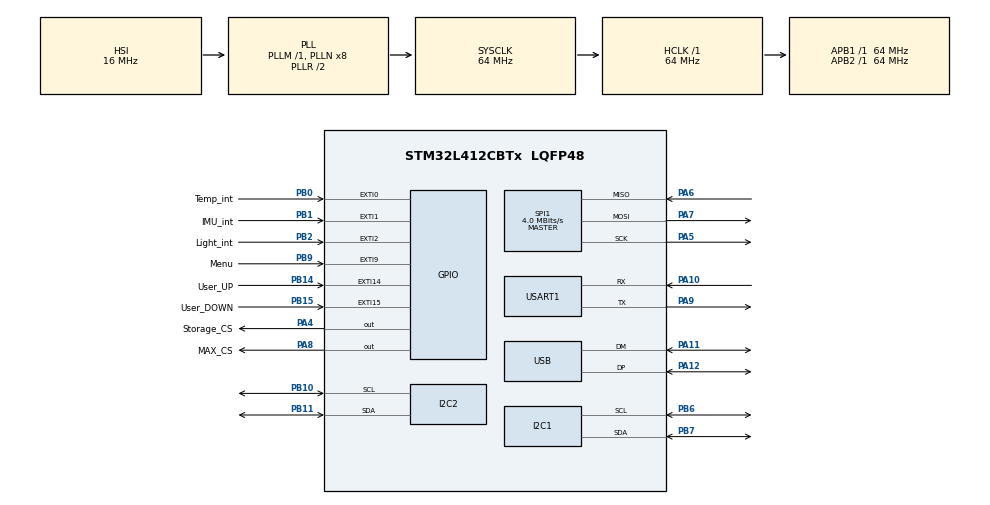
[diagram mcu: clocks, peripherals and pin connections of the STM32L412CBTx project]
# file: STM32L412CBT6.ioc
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FATFS._USE_LFN=2
I2C1.Timing=0x10B17DB5
I2C2.Timing=0x10B17DB5
Mcu.Family=STM32L4
Mcu.Name=STM32L412CBTx
Mcu.Package=LQFP48
NVIC.PriorityGroup=NVIC_PRIORITYGROUP_4
NVIC.USB_IRQn=true\:0\:0\:false\:false\:true\:false\:true\:true
PA10.Mode=Asynchronous
PA10.Signal=USART1_RX
PA11.Mode=Device
PA11.Signal=USB_DM
PA12.Mode=Device
PA12.Signal=USB_DP
PA13\ (JTMS/SWDIO).Mode=Serial_Wire
PA13\ (JTMS/SWDIO).Signal=SYS_JTMS-SWDIO
PA14\ (JTCK/SWCLK).Mode=Serial_Wire
PA14\ (JTCK/SWCLK).Signal=SYS_JTCK-SWCLK
PA4.GPIO_Label=Storage_CS
PA4.GPIO_Speed=GPIO_SPEED_FREQ_HIGH
PA4.PinState=GPIO_PIN_SET
PA4.Signal=GPIO_Output
PA5.Mode=Full_Duplex_Master
PA5.Signal=SPI1_SCK
PA6.Mode=Full_Duplex_Master
PA6.Signal=SPI1_MISO
PA7.Mode=Full_Duplex_Master
PA7.Signal=SPI1_MOSI
PA8.GPIO_Label=MAX_CS
PA8.GPIO_Speed=GPIO_SPEED_FREQ_HIGH
PA8.PinState=GPIO_PIN_SET
PA8.Signal=GPIO_Output
PA9.Mode=Asynchronous
PA9.Signal=USART1_TX
PB0.GPIO_Label=Temp_int
PB0.Signal=GPXTI0
PB1.GPIO_Label=IMU_int
PB1.Signal=GPXTI1
PB10.Mode=I2C
PB10.Signal=I2C2_SCL
PB11.Mode=I2C
PB11.Signal=I2C2_SDA
PB14.GPIO_Label=User_UP
PB14.GPIO_ModeDefaultEXTI=GPIO_MODE_IT_FALLING
PB14.GPIO_PuPd=GPIO_PULLUP
PB14.Signal=GPXTI14
PB15.GPIO_Label=User_DOWN
PB15.GPIO_ModeDefaultEXTI=GPIO_MODE_IT_FALLING
PB15.GPIO_PuPd=GPIO_PULLUP
PB15.Signal=GPXTI15
PB2.GPIO_Label=Light_int
PB2.Signal=GPXTI2
PB6.Mode=I2C
PB6.Signal=I2C1_SCL
PB7.Mode=I2C
PB7.Signal=I2C1_SDA
PB9.GPIO_Label=Menu
PB9.GPIO_ModeDefaultEXTI=GPIO_MODE_IT_FALLING
PB9.GPIO_PuPd=GPIO_PULLUP
PB9.Signal=GPXTI9
PC14-OSC32_IN\ (PC14).Mode=LSE-External-Oscillator
PC14-OSC32_IN\ (PC14).Signal=RCC_OSC32_IN
PC15-OSC32_OUT\ (PC15).Mode=LSE-External-Oscillator
PC15-OSC32_OUT\ (PC15).Signal=RCC_OSC32_OUT
ProjectManager.HeapSize=0x200
ProjectManager.StackSize=0x400
ProjectManager.TargetToolchain=CMake
RCC.ADCFreq_Value=64000000
RCC.AHBFreq_Value=64000000
RCC.APB1Freq_Value=64000000
RCC.APB1TimFreq_Value=64000000
RCC.APB2Freq_Value=64000000
RCC.APB2TimFreq_Value=64000000
RCC.CK48CLockSelection=RCC_USBCLKSOURCE_HSI48
RCC.CortexFreq_Value=64000000
RCC.HCLKFreq_Value=64000000
RCC.HSE_VALUE=8000000
RCC.HSI48_VALUE=48000000
RCC.HSI_VALUE=16000000
RCC.MSI_VALUE=4000000
RCC.PLLSourceVirtual=RCC_PLLSOURCE_HSI
RCC.RTCClockSelection=RCC_RTCCLKSOURCE_LSE
RCC.SYSCLKFreq_VALUE=64000000
RCC.SYSCLKSource=RCC_SYSCLKSOURCE_PLLCLK
RCC.USBFreq_Value=48000000
RCC.VCOOutputFreq_Value=128000000
SPI1.BaudRatePrescaler=SPI_BAUDRATEPRESCALER_16
SPI1.CLKPhase=SPI_PHASE_2EDGE
SPI1.CLKPolarity=SPI_POLARITY_HIGH
SPI1.CalculateBaudRate=4.0 MBits/s
SPI1.DataSize=SPI_DATASIZE_8BIT
SPI1.Direction=SPI_DIRECTION_2LINES
SPI1.Mode=SPI_MODE_MASTER
SPI1.VirtualType=VM_MASTER
USART1.VirtualMode-Asynchronous=VM_ASYNC
USB_DEVICE.CLASS_NAME_FS=MSC
USB_DEVICE.USBD_SELF_POWERED=1
USB_DEVICE.VirtualMode=Msc
USB_DEVICE.VirtualModeFS=Msc_FS
VP_FATFS_VS_Generic.Mode=User_defined
VP_RTC_VS_RTC_Activate.Mode=RTC_Enabled
VP_RTC_VS_RTC_Calendar.Mode=RTC_Calendar
VP_USB_DEVICE_VS_USB_DEVICE_MSC_FS.Mode=MSC_FS
board=custom

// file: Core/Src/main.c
/* USER CODE BEGIN Header */
/**
  ******************************************************************************
  * @file           : main.c
  * @brief          : Main program body
  ******************************************************************************
  * @attention
  *
  * Copyright (c) 2026 STMicroelectronics.
  * All rights reserved.
  *
  * This software is licensed under terms that can be found in the LICENSE file
  * in the root directory of this software component.
  * If no LICENSE file comes with this software, it is provided AS-IS.
  *
  ******************************************************************************
  */
/* USER CODE END Header */
#include "main.h"
#include "fatfs.h"
#include "stm32l4xx_hal.h"
#include "usb_device.h"

/* USER CODE BEGIN Includes */
#include "Sensors.h"
#include "ssd1306.h"
#include "ssd1306_fonts.h"
#include <stdio.h>
#include <string.h>
#include "usbd_core.h"
#include "GSM.h"
extern USBD_HandleTypeDef hUsbDeviceFS;
/* USER CODE END Includes */

/* USER CODE BEGIN PTD */
// SPI Command to read the chip's ID
#define W25_CMD_JEDEC_ID 0x9F
// SPI Command to read standard data
#define W25_CMD_READ 0x03
#define W25_CMD_WRITE_ENABLE 0x06
#define W25_CMD_READ_STATUS  0x05
#define W25_CMD_SECTOR_ERASE 0x20
#define W25_CMD_PAGE_PROGRAM 0x02

#define W25_CS_LOW()  HAL_GPIO_WritePin(Storage_CS_GPIO_Port, Storage_CS_Pin, GPIO_PIN_RESET)
#define W25_CS_HIGH() HAL_GPIO_WritePin(Storage_CS_GPIO_Port, Storage_CS_Pin, GPIO_PIN_SET)

#define MAX_BUFFERED_READINGS 100 // Adjust based on your available RAM
typedef struct {
    uint8_t year;
    uint8_t month;
    uint8_t date;
    uint8_t hours;
    uint8_t minutes;
    uint8_t seconds;
    float temperature;
    float humidity;
    int16_t accel_x;
    int16_t accel_y;
    int16_t accel_z;
    uint8_t shock_event; // NEW FIELD
} SensorRecord_t;
/* USER CODE END PTD */

I2C_HandleTypeDef hi2c1;
I2C_HandleTypeDef hi2c2;

RTC_HandleTypeDef hrtc;

SPI_HandleTypeDef hspi1;

UART_HandleTypeDef huart1;

/* USER CODE BEGIN PV */
// Array to store the 3 bytes the chip sends back
uint8_t flash_id[3];
uint8_t test_read_buffer[10]; // Buffer to hold our read test
float check = 0.0f; // Variable to hold the floating-point value to be written to the CSV file
float debug=0.0f;
float f_c= 0.0f;
uint32_t dif_time=0;

FATFS fs;           // The File System Object
FIL fil;            // The File Object
UINT bytesWritten;  // Counter for bytes written

char log_buffer[128];

SensorRecord_t local_record_buffer[MAX_BUFFERED_READINGS];
uint32_t local_record_count = 0; // Tracks how many readings we have stored
volatile uint8_t shock_event_data = 0;

//Display variables
// ==========================================
// UI GLOBAL VARIABLES
// ==========================================
int Logging_interval = 30;// Logging interval in seconds (10-40)
int Uploading_Interval = 120;// Uploading interval in seconds (0-255)
int alarm_enable = 1;

int battery_percent = 73;           // Battery percentage (0-100)
char time_str[16] = "00:00:00";     // String to hold RTC time for OLED

typedef enum {
    UI_STATE_HOME,    // Main dashboard display
    UI_STATE_MENU,    // Scrolling through settings list
    UI_STATE_EDIT     // Tweaking a specific setting
} UI_State_t;

typedef struct {
    const char* label;   // Text to display on OLED
    int* target_var;     // Pointer to the actual global variable
    int min_val;         // Lower limit
    int max_val;         // Upper limit
    int step;            // Amount to change per click
} MenuItem_t;

UI_State_t current_state = UI_STATE_HOME;
int current_menu_index = 0;
uint8_t ui_needs_update = 1;

#define DISPLAY_TIMEOUT_MS 60000U
uint8_t display_enabled = 1;
uint32_t last_user_activity_ms = 0;
uint32_t last_sensor_read_ms = 0; // Timer for our non-blocking 500ms loop
uint32_t last_upload_ms = 0;

MenuItem_t menu_items[] = {
    // Label                 Pointer               Min   Max    Step
    {"Logging Interval",    &Logging_interval,     10,   180,   10},  // Range: 10s to 120s (Step by 10s)
    {"Uploading Interval",  &Uploading_Interval,   60,   3600,  60},  // Range: 60s to 3600s (Step by 1 minute)
    {"Alarm Switch",        &alarm_enable,         0,    1,     1}
};
const int TOTAL_MENU_ITEMS = sizeof(menu_items) / sizeof(MenuItem_t);
/* USER CODE END PV */

void SystemClock_Config(void);
static void MX_GPIO_Init(void);
static void MX_I2C1_Init(void);
static void MX_I2C2_Init(void);
static void MX_RTC_Init(void);
static void MX_SPI1_Init(void);
static void MX_USART1_UART_Init(void);
/* USER CODE BEGIN PFP */
void SPI_Set_Mode_Flash(void);
void SPI_Set_Mode_MAX31865(void);
void W25_Read_ID(void);
void W25_Read_Data(uint32_t address, uint8_t* buffer, uint32_t length);
void W25_Wait_For_Ready(void);
void W25_Write_Enable(void);
void W25_Erase_Sector(uint32_t address);
void W25_Write_Page(uint32_t address, uint8_t* buffer, uint16_t length);
void Update_Dashboard(void);
uint8_t Process_UI(void);
void Display_HomeScreen(void);
void Display_MenuScreen(void);
void Display_EditScreen(void);
/* USER CODE END PFP */

/* USER CODE BEGIN 0 */
// Shifts the SPI bus into Mode 0 for the Memory Chip
void SPI_Set_Mode_Flash(void)
{
// 1. Force the PT100 CS HIGH so it ignores the bus change
  HAL_GPIO_WritePin(MAX_CS_GPIO_Port, MAX_CS_Pin, GPIO_PIN_SET);

  // 2. Safely disable the SPI hardware block without breaking GPIOs
  __HAL_SPI_DISABLE(&hspi1);

  // 3. Fully restore ALL SPI parameters for Mode 0
  hspi1.Init.Mode = SPI_MODE_MASTER;
  hspi1.Init.Direction = SPI_DIRECTION_2LINES;
  hspi1.Init.DataSize = SPI_DATASIZE_8BIT;
  hspi1.Init.CLKPolarity = SPI_POLARITY_LOW;         // Mode 0
  hspi1.Init.CLKPhase = SPI_PHASE_1EDGE;             // Mode 0
  hspi1.Init.NSS = SPI_NSS_SOFT;
  hspi1.Init.BaudRatePrescaler = SPI_BAUDRATEPRESCALER_16; // Overwrite FatFs changes
  hspi1.Init.FirstBit = SPI_FIRSTBIT_MSB;
  hspi1.Init.TIMode = SPI_TIMODE_DISABLE;
  hspi1.Init.CRCCalculation = SPI_CRCCALCULATION_DISABLE;
  hspi1.Init.CRCPolynomial = 7;
  hspi1.Init.CRCLength = SPI_CRC_LENGTH_DATASIZE;
  hspi1.Init.NSSPMode = SPI_NSS_PULSE_DISABLE;

  HAL_SPI_Init(&hspi1);
}

// Shifts the SPI bus into Mode 3 for the PT100 Sensor
void SPI_Set_Mode_MAX31865(void)
{
// 1. Force the Flash CS HIGH so it ignores the bus change
  HAL_GPIO_WritePin(Storage_CS_GPIO_Port, Storage_CS_Pin, GPIO_PIN_SET);

  // 2. Safely disable the SPI hardware block without breaking GPIOs
  __HAL_SPI_DISABLE(&hspi1);

  // 3. Fully restore ALL SPI parameters for Mode 3
  hspi1.Init.Mode = SPI_MODE_MASTER;
  hspi1.Init.Direction = SPI_DIRECTION_2LINES;
  hspi1.Init.DataSize = SPI_DATASIZE_8BIT;
  hspi1.Init.CLKPolarity = SPI_POLARITY_HIGH;        // Mode 3
  hspi1.Init.CLKPhase = SPI_PHASE_2EDGE;             // Mode 3
  hspi1.Init.NSS = SPI_NSS_SOFT;
  hspi1.Init.BaudRatePrescaler = SPI_BAUDRATEPRESCALER_16; // Guarantee safe clock speed!
  hspi1.Init.FirstBit = SPI_FIRSTBIT_MSB;
  hspi1.Init.TIMode = SPI_TIMODE_DISABLE;
  hspi1.Init.CRCCalculation = SPI_CRCCALCULATION_DISABLE;
  hspi1.Init.CRCPolynomial = 7;
  hspi1.Init.CRCLength = SPI_CRC_LENGTH_DATASIZE;
  hspi1.Init.NSSPMode = SPI_NSS_PULSE_DISABLE;

  HAL_SPI_Init(&hspi1);
}
void W25_Read_ID(void)
{
  SPI_Set_Mode_Flash(); // Ensure SPI is in Mode 0 for the flash chip

  uint8_t cmd = W25_CMD_JEDEC_ID;

  // 1. Pull CS Low to wake up the memory chip
  W25_CS_LOW();

  // 2. Transmit the 0x9F command over MOSI
  HAL_SPI_Transmit(&hspi1, &cmd, 1, 100);

  // 3. Receive the 3-byte response over MISO
  HAL_SPI_Receive(&hspi1, flash_id, 3, 100);

  // 4. Pull CS High to put the chip back to sleep
  W25_CS_HIGH();
}

void W25_Read_Data(uint32_t address, uint8_t* buffer, uint32_t length)
{
    SPI_Set_Mode_Flash(); // Ensure SPI is in Mode 0 for the flash chip
    uint8_t spi_data[4];

    // 1. Setup the command and 24-bit address (MSB first)
    spi_data[0] = W25_CMD_READ;                 // Instruction
    spi_data[1] = (address >> 16) & 0xFF;       // Address High Byte
    spi_data[2] = (address >> 8)  & 0xFF;       // Address Middle Byte
    spi_data[3] = (address & 0xFF);             // Address Low Byte

    // 2. Pull CS Low to select the chip
    W25_CS_LOW();

    // 3. Send the Command and Address (4 bytes total)
    HAL_SPI_Transmit(&hspi1, spi_data, 4, 100);

    // 4. Read the requested data directly into the buffer
    HAL_SPI_Receive(&hspi1, buffer, length, 1000);

    // 5. Pull CS High to put the chip back to sleep
    W25_CS_HIGH();
}

// Checks the BUSY bit in the status register and waits until it clears
void W25_Wait_For_Ready(void)
{
    SPI_Set_Mode_Flash(); // Ensure SPI is in Mode 0 for the flash chip
    uint8_t cmd = W25_CMD_READ_STATUS;
    uint8_t status = 0;

    W25_CS_LOW();
    HAL_SPI_Transmit(&hspi1, &cmd, 1, 100);
    do {
        // Keep reading the status register until bit 0 (BUSY) becomes 0
        HAL_SPI_Receive(&hspi1, &status, 1, 100);
    } while ((status & 0x01) == 0x01);
    W25_CS_HIGH();
}

// Unlocks the memory to allow a write or erase
void W25_Write_Enable(void)
{
    SPI_Set_Mode_Flash(); // Ensure SPI is in Mode 0 for the flash chip
    uint8_t cmd = W25_CMD_WRITE_ENABLE;
    W25_CS_LOW();
    HAL_SPI_Transmit(&hspi1, &cmd, 1, 100);
    W25_CS_HIGH();
}

// Wipes a 4096-byte chunk of memory clean to 0xFF
void W25_Erase_Sector(uint32_t address)
{
    SPI_Set_Mode_Flash(); // Ensure SPI is in Mode 0 for the flash chip
    uint8_t spi_data[4];

    W25_Write_Enable(); // MUST unlock before erasing

    spi_data[0] = W25_CMD_SECTOR_ERASE;
    spi_data[1] = (address >> 16) & 0xFF;
    spi_data[2] = (address >> 8)  & 0xFF;
    spi_data[3] = (address & 0xFF);

    W25_CS_LOW();
    HAL_SPI_Transmit(&hspi1, spi_data, 4, 100);
    W25_CS_HIGH();

    W25_Wait_For_Ready(); // Wait for the physical erase to finish
}

// Writes up to 256 bytes of data to an ERASED sector
void W25_Write_Page(uint32_t address, uint8_t* buffer, uint16_t length)
{
    SPI_Set_Mode_Flash(); // Ensure SPI is in Mode 0 for the flash chip
    uint8_t spi_data[4];

    W25_Write_Enable(); // MUST unlock before writing

    spi_data[0] = W25_CMD_PAGE_PROGRAM;
    spi_data[1] = (address >> 16) & 0xFF;
    spi_data[2] = (address >> 8)  & 0xFF;
    spi_data[3] = (address & 0xFF);

    W25_CS_LOW();
    HAL_SPI_Transmit(&hspi1, spi_data, 4, 100);       // Send Address
    HAL_SPI_Transmit(&hspi1, buffer, length, 1000);   // Send Data Array
    W25_CS_HIGH();

    W25_Wait_For_Ready(); // Wait for the physical write to finish
}

uint8_t Process_UI(void) {
    static uint8_t menu_was_pressed = 0;
    static uint8_t up_was_pressed = 0;
    static uint8_t down_was_pressed = 0;
    uint8_t changed = 0;

    uint8_t menu_pressed = (HAL_GPIO_ReadPin(Menu_GPIO_Port, Menu_Pin) == GPIO_PIN_RESET);
    uint8_t up_pressed   = (HAL_GPIO_ReadPin(User_DOWN_GPIO_Port, User_DOWN_Pin) == GPIO_PIN_RESET);
    uint8_t down_pressed = (HAL_GPIO_ReadPin(User_UP_GPIO_Port, User_UP_Pin) == GPIO_PIN_RESET);

    // MENU BUTTON LOGIC
    if (menu_pressed && !menu_was_pressed) {
        menu_was_pressed = 1;
        changed = 1;
        if (current_state == UI_STATE_HOME) {
            current_state = UI_STATE_MENU;
            current_menu_index = 0;
        } else if (current_state == UI_STATE_MENU) {
            current_state = UI_STATE_EDIT;
        } else if (current_state == UI_STATE_EDIT) {
            current_state = UI_STATE_MENU;
        }
    } else if (!menu_pressed) menu_was_pressed = 0;

    // UP BUTTON LOGIC
    if (up_pressed && !up_was_pressed) {
        up_was_pressed = 1;
        changed = 1;
        if (current_state == UI_STATE_MENU) {
            current_menu_index--;
            if (current_menu_index < 0) current_menu_index = TOTAL_MENU_ITEMS - 1;
        } else if (current_state == UI_STATE_EDIT) {
            MenuItem_t* active_item = &menu_items[current_menu_index];
            *(active_item->target_var) += active_item->step;
            if (*(active_item->target_var) > active_item->max_val) *(active_item->target_var) = active_item->max_val;
        } else if (current_state == UI_STATE_HOME) {
            current_state = UI_STATE_MENU;
            current_menu_index = 0;
        }
    } else if (!up_pressed) up_was_pressed = 0;

    // DOWN BUTTON LOGIC
    if (down_pressed && !down_was_pressed) {
        down_was_pressed = 1;
        changed = 1;
        if (current_state == UI_STATE_MENU) {
            current_menu_index++;
            if (current_menu_index >= TOTAL_MENU_ITEMS) {
                current_state = UI_STATE_HOME;
                current_menu_index = 0;
            }
        } else if (current_state == UI_STATE_EDIT) {
            MenuItem_t* active_item = &menu_items[current_menu_index];
            *(active_item->target_var) -= active_item->step;
            if (*(active_item->target_var) < active_item->min_val) *(active_item->target_var) = active_item->min_val;
        } else if (current_state == UI_STATE_HOME) {
            current_state = UI_STATE_MENU;
            current_menu_index = 0;
        }
    } else if (!down_pressed) down_was_pressed = 0;

    return changed;
}

void Display_HomeScreen(void)
{
  char buf[32];
  ssd1306_Fill(Black);

  ssd1306_SetCursor(2, 0);
  ssd1306_WriteString((char*)"Temp", Font_6x8, White);

  // UPDATED TO USE YOUR PT100 VARIABLE
  snprintf(buf, sizeof(buf), "%.1fC", live_temperature);
  ssd1306_SetCursor(2, 10);
  ssd1306_WriteString(buf, Font_16x24, White);

  // UPDATED TO USE YOUR SHT45 VARIABLE
  snprintf(buf, sizeof(buf), "Hum: %.0f%%", humidity);
  ssd1306_SetCursor(64, 10);
  ssd1306_WriteString(buf, Font_7x10, White);

  snprintf(buf, sizeof(buf), "Bat: %d%%", battery_percent);
  ssd1306_SetCursor(64, 36);
  ssd1306_WriteString(buf, Font_7x10, White);

  ssd1306_SetCursor(2, 50);
  ssd1306_WriteString(time_str, Font_7x10, White);

  ssd1306_UpdateScreen();
}

void Display_MenuScreen(void)
{
  char buf[32];
  ssd1306_Fill(Black);
  ssd1306_SetCursor(2, 0);
  ssd1306_WriteString((char*)"SETTINGS", Font_7x10, White);
  ssd1306_Line(0, 12, 127, 12, White);

  int y_pos = 18;
  for (int i = 0; i < TOTAL_MENU_ITEMS; i++) {
    if (i == current_menu_index) {
      ssd1306_DrawRectangle(0, y_pos - 2, 127, y_pos + 10, White);
      ssd1306_SetCursor(4, y_pos);
      snprintf(buf, sizeof(buf), "%s: %d", menu_items[i].label, *(menu_items[i].target_var));
      ssd1306_WriteString(buf, Font_6x8, Black);
    } else {
      ssd1306_SetCursor(4, y_pos);
      snprintf(buf, sizeof(buf), "%s: %d", menu_items[i].label, *(menu_items[i].target_var));
      ssd1306_WriteString(buf, Font_6x8, White);
    }
    y_pos += 14;
  }
  ssd1306_SetCursor(2, 54);
  ssd1306_WriteString((char*)"Menu:Select  Dn:Back", Font_6x8, White);
  ssd1306_UpdateScreen();
}

void Display_EditScreen(void)
{
  char buf[32];
  ssd1306_Fill(Black);
  MenuItem_t* active_item = &menu_items[current_menu_index];

  ssd1306_SetCursor(2, 0);
  ssd1306_WriteString((char*)"EDIT MODE", Font_7x10, White);
  ssd1306_Line(0, 12, 127, 12, White);

  ssd1306_SetCursor(2, 18);
  ssd1306_WriteString((char*)active_item->label, Font_11x18, White);

  snprintf(buf, sizeof(buf), "%d", *(active_item->target_var));
  ssd1306_SetCursor(2, 40);
  ssd1306_WriteString(buf, Font_16x24, White);

  snprintf(buf, sizeof(buf), "Range: %d-%d  Menu:Back", active_item->min_val, active_item->max_val);
  ssd1306_SetCursor(2, 54);
  ssd1306_WriteString(buf, Font_6x8, White);
  ssd1306_UpdateScreen();
}
/* USER CODE END 0 */

int main(void)
{

  /* MCU Configuration--------------------------------------------------------*/

  /* Reset of all peripherals, Initializes the Flash interface and the Systick. */
  HAL_Init();

  /* Configure the system clock */
  SystemClock_Config();

  /* Initialize all configured peripherals */
  MX_GPIO_Init();
  MX_I2C1_Init();
  MX_I2C2_Init();
  MX_RTC_Init();
  MX_SPI1_Init();
  MX_FATFS_Init();
  MX_USB_DEVICE_Init();
  MX_USART1_UART_Init();
  /* USER CODE BEGIN 2 */
  HAL_Delay(100);

  // Replace &huart1 with your configured cellular UART handle
  GSM_Init(&huart1);

  // Ask the chip who it is!
  W25_Read_ID();

  ssd1306_Init();
  // Show a quick boot screen
  ssd1306_Fill(Black);
  ssd1306_SetCursor(10, 20);
  ssd1306_WriteString("Cold Chain", Font_11x18, White);
  ssd1306_SetCursor(25, 40);
  ssd1306_WriteString("Logger V1", Font_7x10, White);
  ssd1306_UpdateScreen();

  HAL_Delay(2000); // Show the boot screen for 2 seconds
  ssd1306_Fill(Black);

  //USBD_DeInit(&hUsbDeviceFS);

  MAX31865_Init(); // Initialize the MAX31865 for PT100 readings

  LIS3DHTR_Init(); // Initialize the LIS3DHTR for accelerometer readings

  /* USER CODE END 2 */

  /* Infinite loop */
  /* USER CODE BEGIN WHILE */
  uint8_t was_usb_connected = 0;
  while (1)
  {
    uint32_t current_time_ms = HAL_GetTick();
      uint8_t is_usb_connected = (hUsbDeviceFS.dev_state == USBD_STATE_CONFIGURED) ? 1 : 0;

      // =========================================================
      // TRANSITION LOGIC (Cable plugged in)
      // =========================================================
      if (is_usb_connected == 1 && was_usb_connected == 0)
      {
          // 1. Alert the User
          ssd1306_Fill(Black);
          ssd1306_SetCursor(10, 20);
          ssd1306_WriteString("USB CONNECTED", Font_11x18, White);
          ssd1306_SetCursor(10, 40);
          ssd1306_WriteString("Syncing Data...", Font_7x10, White);
          ssd1306_UpdateScreen();
          // Not working --> competition between windows and stm32 to write and read the flash memory.
          // 2. Quickly mount FatFs and dump our RAM buffer into the CSV file
          /*if (f_mount(&fs, USERPath, 1) == FR_OK)
          {
              if (f_open(&fil, "maindata.csv", FA_OPEN_ALWAYS | FA_WRITE) == FR_OK)
              {
                  // ==========================================
                  // NEW: Check if the file is brand new (size 0)
                  // ==========================================
                  if (f_size(&fil) == 0)
                  {
                      // File was just created, write the header!
                      f_c=0.2f;
                      char header[] = "Date,Time,Temperature(C),Humidity(%),Accel_X,Accel_Y,Accel_Z\n";
                      f_write(&fil, header, strlen(header), &bytesWritten);
                  }
                  else
                  {
                      // File already exists, just jump to the end
                      f_c=0.1f;
                      f_lseek(&fil, f_size(&fil));
                  }

                  // Loop through all saved readings and write them
                  for (uint32_t i = 0; i < local_record_count; i++)
                  {
                      snprintf(log_buffer, sizeof(log_buffer), "20%02d-%02d-%02d,%02d:%02d:%02d,%.2f,%.2f,%d,%d,%d\n",
                               local_record_buffer[i].year, local_record_buffer[i].month, local_record_buffer[i].date,
                               local_record_buffer[i].hours, local_record_buffer[i].minutes, local_record_buffer[i].seconds,
                               local_record_buffer[i].temperature, local_record_buffer[i].humidity,
                               local_record_buffer[i].accel_x, local_record_buffer[i].accel_y, local_record_buffer[i].accel_z);

                      f_write(&fil, log_buffer, strlen(log_buffer), &bytesWritten);
                  }
                  f_close(&fil);
              }
          }*/

          // 3. Reset the buffer counter since data is now saved
          //local_record_count = 0;

          // 4. Unmount FatFs safely so the PC can take control of the Flash memory
          //f_mount(NULL, USERPath, 0);
          was_usb_connected = 1;
      }
      // =========================================================
      // TRANSITION LOGIC (Cable pulled out)
      // =========================================================
      else if (is_usb_connected == 0 && was_usb_connected == 1)
      {
          // Note: We DO NOT mount the file system here. We keep it unmounted
          // during battery operation to save power and prevent SPI conflicts.
          ui_needs_update = 1;
          was_usb_connected = 0;
      }

      // =========================================================
      // NORMAL OPERATION (Only runs when running on Battery)
      // =========================================================
      if (is_usb_connected == 0)
      {
          debug = 2.0f;
          uint8_t user_activity = Process_UI();
          if (user_activity) {
              if (!display_enabled) {
                  ssd1306_SetDisplayOn(1);
                  display_enabled = 1;
              }
              last_user_activity_ms = current_time_ms;
              ui_needs_update = 1;
          }

          dif_time = current_time_ms - last_sensor_read_ms;
          if ((current_time_ms - last_sensor_read_ms) >= (Logging_interval * 1000))
          {
              last_sensor_read_ms = current_time_ms;
              debug = 1.0f;

              MAX31865_ReadRTD();
              SHT45_Read();
              LIS3DHTR_Read(&LIS3DH_X, &LIS3DH_Y, &LIS3DH_Z);

              RTC_TimeTypeDef sTime = {0};
              RTC_DateTypeDef sDate = {0};
              HAL_RTC_GetTime(&hrtc, &sTime, RTC_FORMAT_BIN);
              HAL_RTC_GetDate(&hrtc, &sDate, RTC_FORMAT_BIN);

              snprintf(time_str, sizeof(time_str), "%02d:%02d:%02d", sTime.Hours, sTime.Minutes, sTime.Seconds);

              // =========================================================
              // NEW: STORE IN RAM BUFFER INSTEAD OF CSV
              // =========================================================
              if (local_record_count < MAX_BUFFERED_READINGS)
              {
                  local_record_buffer[local_record_count].year = sDate.Year;
                  local_record_buffer[local_record_count].month = sDate.Month;
                  local_record_buffer[local_record_count].date = sDate.Date;
                  local_record_buffer[local_record_count].hours = sTime.Hours;
                  local_record_buffer[local_record_count].minutes = sTime.Minutes;
                  local_record_buffer[local_record_count].seconds = sTime.Seconds;
                  local_record_buffer[local_record_count].temperature = live_temperature;
                  local_record_buffer[local_record_count].humidity = humidity;
                  local_record_buffer[local_record_count].accel_x = LIS3DH_X;
                  local_record_buffer[local_record_count].accel_y = LIS3DH_Y;
                  local_record_buffer[local_record_count].accel_z = LIS3DH_Z;

                  local_record_count++;
              }
              // Not working --> SPI Mode 0 holds from FATFS and Doesn't allow the MAX31865 to read in Mode 3.
              /*if (f_mount(&fs, USERPath, 1) == FR_OK)
              {
                if (f_open(&fil, "maindata.csv", FA_OPEN_ALWAYS | FA_WRITE) == FR_OK)
                {
                    // ==========================================
                    // NEW: Check if the file is brand new (size 0)
                    // ==========================================
                    if (f_size(&fil) == 0)
                    {
                        // File was just created, write the header!
                        f_c=0.2f;
                        char header[] = "Date,Time,Temperature(C),Humidity(%),Accel_X,Accel_Y,Accel_Z\n";
                        f_write(&fil, header, strlen(header), &bytesWritten);
                    }
                    else
                    {
                        // File already exists, just jump to the end
                        f_c=0.1f;
                        f_lseek(&fil, f_size(&fil));
                    }

                    // Loop through all saved readings and write them
                    for (uint32_t i = 0; i < local_record_count; i++)
                    {
                        snprintf(log_buffer, sizeof(log_buffer), "20%02d-%02d-%02d,%02d:%02d:%02d,%.2f,%.2f,%d,%d,%d\n",
                                local_record_buffer[i].year, local_record_buffer[i].month, local_record_buffer[i].date,
                                local_record_buffer[i].hours, local_record_buffer[i].minutes, local_record_buffer[i].seconds,
                                local_record_buffer[i].temperature, local_record_buffer[i].humidity,
                                local_record_buffer[i].accel_x, local_record_buffer[i].accel_y, local_record_buffer[i].accel_z);

                        f_write(&fil, log_buffer, strlen(log_buffer), &bytesWritten);
                    }
                    f_close(&fil);
                }
            }*/

              // 3. Reset the buffer counter since data is now saved
              //local_record_count = 0;

              // 4. Unmount FatFs safely so the PC can take control of the Flash memory
              //f_mount(NULL, USERPath, 0);

              char date_buffer[16];
              char time_buffer[16];
              snprintf(date_buffer, sizeof(date_buffer), "%d/%d/20%02d", sDate.Month, sDate.Date, sDate.Year);
              snprintf(time_buffer, sizeof(time_buffer), "%02d:%02d:%02d", sTime.Hours, sTime.Minutes, sTime.Seconds);
              GSM_AddReading(date_buffer, time_buffer, live_temperature, humidity, LIS3DH_X, LIS3DH_Y, LIS3DH_Z, shock_event_data);
              shock_event_data=0;
              if (((current_time_ms - last_upload_ms) >= (Uploading_Interval * 1000)) ||
                  (GSM_GetBufferCount() >= MAX_READINGS))
              {
                  last_upload_ms = current_time_ms;
                  if (GSM_GetBufferCount() > 0) {
                      ssd1306_SetCursor(2, 50);
                      ssd1306_WriteString("Uploading...   ", Font_7x10, White);
                      ssd1306_UpdateScreen();
                      GSM_UploadBuffer();
                  }
              }

              if (current_state == UI_STATE_HOME) ui_needs_update = 1;
          }

          if (display_enabled && ui_needs_update)
          {
              if (current_state == UI_STATE_HOME) Display_HomeScreen();
              else if (current_state == UI_STATE_MENU) Display_MenuScreen();
              else if (current_state == UI_STATE_EDIT) Display_EditScreen();
              ui_needs_update = 0;
          }

          if (display_enabled && ((current_time_ms - last_user_activity_ms) >= DISPLAY_TIMEOUT_MS)) {
              ssd1306_SetDisplayOn(0);
              display_enabled = 0;
          }
      }

      HAL_Delay(10);

    /* USER CODE END WHILE */

    /* USER CODE BEGIN 3 */
  }
    /* USER CODE BEGIN 3 */
}
  /* USER CODE END 3 */

void SystemClock_Config(void)
{
  RCC_OscInitTypeDef RCC_OscInitStruct = {0};
  RCC_ClkInitTypeDef RCC_ClkInitStruct = {0};

  /** Configure the main internal regulator output voltage
  */
  if (HAL_PWREx_ControlVoltageScaling(PWR_REGULATOR_VOLTAGE_SCALE1) != HAL_OK)
  {
    Error_Handler();
  }

  /** Configure LSE Drive Capability
  */
  HAL_PWR_EnableBkUpAccess();
  __HAL_RCC_LSEDRIVE_CONFIG(RCC_LSEDRIVE_LOW);

  /** Initializes the RCC Oscillators according to the specified parameters
  * in the RCC_OscInitTypeDef structure.
  */
  RCC_OscInitStruct.OscillatorType = RCC_OSCILLATORTYPE_HSI48|RCC_OSCILLATORTYPE_HSI
                              |RCC_OSCILLATORTYPE_LSE;
  RCC_OscInitStruct.LSEState = RCC_LSE_ON;
  RCC_OscInitStruct.HSIState = RCC_HSI_ON;
  RCC_OscInitStruct.HSI48State = RCC_HSI48_ON;
  RCC_OscInitStruct.HSICalibrationValue = RCC_HSICALIBRATION_DEFAULT;
  RCC_OscInitStruct.PLL.PLLState = RCC_PLL_ON;
  RCC_OscInitStruct.PLL.PLLSource = RCC_PLLSOURCE_HSI;
  RCC_OscInitStruct.PLL.PLLM = 1;
  RCC_OscInitStruct.PLL.PLLN = 8;
  RCC_OscInitStruct.PLL.PLLQ = RCC_PLLQ_DIV2;
  RCC_OscInitStruct.PLL.PLLR = RCC_PLLR_DIV2;
  if (HAL_RCC_OscConfig(&RCC_OscInitStruct) != HAL_OK)
  {
    Error_Handler();
  }

  /** Initializes the CPU, AHB and APB buses clocks
  */
  RCC_ClkInitStruct.ClockType = RCC_CLOCKTYPE_HCLK|RCC_CLOCKTYPE_SYSCLK
                              |RCC_CLOCKTYPE_PCLK1|RCC_CLOCKTYPE_PCLK2;
  RCC_ClkInitStruct.SYSCLKSource = RCC_SYSCLKSOURCE_PLLCLK;
  RCC_ClkInitStruct.AHBCLKDivider = RCC_SYSCLK_DIV1;
  RCC_ClkInitStruct.APB1CLKDivider = RCC_HCLK_DIV1;
  RCC_ClkInitStruct.APB2CLKDivider = RCC_HCLK_DIV1;

  if (HAL_RCC_ClockConfig(&RCC_ClkInitStruct, FLASH_LATENCY_3) != HAL_OK)
  {
    Error_Handler();
  }
}

static void MX_I2C1_Init(void)
{

  hi2c1.Instance = I2C1;
  hi2c1.Init.Timing = 0x10B17DB5;
  hi2c1.Init.OwnAddress1 = 0;
  hi2c1.Init.AddressingMode = I2C_ADDRESSINGMODE_7BIT;
  hi2c1.Init.DualAddressMode = I2C_DUALADDRESS_DISABLE;
  hi2c1.Init.OwnAddress2 = 0;
  hi2c1.Init.OwnAddress2Masks = I2C_OA2_NOMASK;
  hi2c1.Init.GeneralCallMode = I2C_GENERALCALL_DISABLE;
  hi2c1.Init.NoStretchMode = I2C_NOSTRETCH_DISABLE;
  if (HAL_I2C_Init(&hi2c1) != HAL_OK)
  {
    Error_Handler();
  }

  /** Configure Analogue filter
  */
  if (HAL_I2CEx_ConfigAnalogFilter(&hi2c1, I2C_ANALOGFILTER_ENABLE) != HAL_OK)
  {
    Error_Handler();
  }

  /** Configure Digital filter
  */
  if (HAL_I2CEx_ConfigDigitalFilter(&hi2c1, 0) != HAL_OK)
  {
    Error_Handler();
  }

}

static void MX_I2C2_Init(void)
{

  hi2c2.Instance = I2C2;
  hi2c2.Init.Timing = 0x10B17DB5;
  hi2c2.Init.OwnAddress1 = 0;
  hi2c2.Init.AddressingMode = I2C_ADDRESSINGMODE_7BIT;
  hi2c2.Init.DualAddressMode = I2C_DUALADDRESS_DISABLE;
  hi2c2.Init.OwnAddress2 = 0;
  hi2c2.Init.OwnAddress2Masks = I2C_OA2_NOMASK;
  hi2c2.Init.GeneralCallMode = I2C_GENERALCALL_DISABLE;
  hi2c2.Init.NoStretchMode = I2C_NOSTRETCH_DISABLE;
  if (HAL_I2C_Init(&hi2c2) != HAL_OK)
  {
    Error_Handler();
  }

  /** Configure Analogue filter
  */
  if (HAL_I2CEx_ConfigAnalogFilter(&hi2c2, I2C_ANALOGFILTER_ENABLE) != HAL_OK)
  {
    Error_Handler();
  }

  /** Configure Digital filter
  */
  if (HAL_I2CEx_ConfigDigitalFilter(&hi2c2, 0) != HAL_OK)
  {
    Error_Handler();
  }

}

static void MX_RTC_Init(void)
{

  RTC_TimeTypeDef sTime = {0};
  RTC_DateTypeDef sDate = {0};

  /** Initialize RTC Only
  */
  hrtc.Instance = RTC;
  hrtc.Init.HourFormat = RTC_HOURFORMAT_24;
  hrtc.Init.AsynchPrediv = 127;
  hrtc.Init.SynchPrediv = 255;
  hrtc.Init.OutPut = RTC_OUTPUT_DISABLE;
  hrtc.Init.OutPutRemap = RTC_OUTPUT_REMAP_NONE;
  hrtc.Init.OutPutPolarity = RTC_OUTPUT_POLARITY_HIGH;
  hrtc.Init.OutPutType = RTC_OUTPUT_TYPE_OPENDRAIN;
  hrtc.Init.OutPutPullUp = RTC_OUTPUT_PULLUP_NONE;
  if (HAL_RTC_Init(&hrtc) != HAL_OK)
  {
    Error_Handler();
  }

  if (HAL_RTCEx_BKUPRead(&hrtc, RTC_BKP_DR1) != 0x32F2)
    {
        /** Initialize RTC and set the Time and Date
        */
        sTime.Hours = 21;      // 9 PM in 24-hour time
        sTime.Minutes = 07;    // Current minute
        sTime.Seconds = 0;
        sTime.DayLightSaving = RTC_DAYLIGHTSAVING_NONE;
        sTime.StoreOperation = RTC_STOREOPERATION_RESET;

        // Note: We changed FORMAT_BCD to FORMAT_BIN so normal decimal numbers work
        if (HAL_RTC_SetTime(&hrtc, &sTime, RTC_FORMAT_BIN) != HAL_OK)
        {
          Error_Handler();
        }

        sDate.WeekDay = RTC_WEEKDAY_MONDAY;
        sDate.Month = RTC_MONTH_JULY;
        sDate.Date = 20;      // 20th
        sDate.Year = 26;      // 2026

        if (HAL_RTC_SetDate(&hrtc, &sDate, RTC_FORMAT_BIN) != HAL_OK)
        {
          Error_Handler();
        }

        // Save our secret flag to Backup Register 1 so it NEVER resets on reboot!
        HAL_RTCEx_BKUPWrite(&hrtc, RTC_BKP_DR1, 0x32F2);
    }

}

static void MX_SPI1_Init(void)
{

  /* SPI1 parameter configuration*/
  hspi1.Instance = SPI1;
  hspi1.Init.Mode = SPI_MODE_MASTER;
  hspi1.Init.Direction = SPI_DIRECTION_2LINES;
  hspi1.Init.DataSize = SPI_DATASIZE_8BIT;
  hspi1.Init.CLKPolarity = SPI_POLARITY_HIGH;
  hspi1.Init.CLKPhase = SPI_PHASE_2EDGE;
  hspi1.Init.NSS = SPI_NSS_SOFT;
  hspi1.Init.BaudRatePrescaler = SPI_BAUDRATEPRESCALER_16;
  hspi1.Init.FirstBit = SPI_FIRSTBIT_MSB;
  hspi1.Init.TIMode = SPI_TIMODE_DISABLE;
  hspi1.Init.CRCCalculation = SPI_CRCCALCULATION_DISABLE;
  hspi1.Init.CRCPolynomial = 7;
  hspi1.Init.CRCLength = SPI_CRC_LENGTH_DATASIZE;
  hspi1.Init.NSSPMode = SPI_NSS_PULSE_DISABLE;
  if (HAL_SPI_Init(&hspi1) != HAL_OK)
  {
    Error_Handler();
  }

}

static void MX_USART1_UART_Init(void)
{

  huart1.Instance = USART1;
  huart1.Init.BaudRate = 115200;
  huart1.Init.WordLength = UART_WORDLENGTH_8B;
  huart1.Init.StopBits = UART_STOPBITS_1;
  huart1.Init.Parity = UART_PARITY_NONE;
  huart1.Init.Mode = UART_MODE_TX_RX;
  huart1.Init.HwFlowCtl = UART_HWCONTROL_NONE;
  huart1.Init.OverSampling = UART_OVERSAMPLING_16;
  huart1.Init.OneBitSampling = UART_ONE_BIT_SAMPLE_DISABLE;
  huart1.AdvancedInit.AdvFeatureInit = UART_ADVFEATURE_NO_INIT;
  if (HAL_UART_Init(&huart1) != HAL_OK)
  {
    Error_Handler();
  }

}

static void MX_GPIO_Init(void)
{
  GPIO_InitTypeDef GPIO_InitStruct = {0};

  /* GPIO Ports Clock Enable */
  __HAL_RCC_GPIOC_CLK_ENABLE();
  __HAL_RCC_GPIOA_CLK_ENABLE();
  __HAL_RCC_GPIOB_CLK_ENABLE();

  /*Configure GPIO pin Output Level */
  HAL_GPIO_WritePin(GPIOA, Storage_CS_Pin|MAX_CS_Pin, GPIO_PIN_SET);

  /*Configure GPIO pins : Storage_CS_Pin MAX_CS_Pin */
  GPIO_InitStruct.Pin = Storage_CS_Pin|MAX_CS_Pin;
  GPIO_InitStruct.Mode = GPIO_MODE_OUTPUT_PP;
  GPIO_InitStruct.Pull = GPIO_NOPULL;
  GPIO_InitStruct.Speed = GPIO_SPEED_FREQ_HIGH;
  HAL_GPIO_Init(GPIOA, &GPIO_InitStruct);

  /*Configure GPIO pins : Temp_int_Pin IMU_int_Pin Light_int_Pin */
  GPIO_InitStruct.Pin = Temp_int_Pin|IMU_int_Pin|Light_int_Pin;
  GPIO_InitStruct.Mode = GPIO_MODE_IT_RISING;
  GPIO_InitStruct.Pull = GPIO_NOPULL;
  HAL_GPIO_Init(GPIOB, &GPIO_InitStruct);

  /*Configure GPIO pins : User_UP_Pin User_DOWN_Pin Menu_Pin */
  GPIO_InitStruct.Pin = User_UP_Pin|User_DOWN_Pin|Menu_Pin;
  GPIO_InitStruct.Mode = GPIO_MODE_IT_FALLING;
  GPIO_InitStruct.Pull = GPIO_PULLUP;
  HAL_GPIO_Init(GPIOB, &GPIO_InitStruct);

}

/* USER CODE BEGIN 4 */
void HAL_GPIO_EXTI_Callback(uint16_t GPIO_Pin)
{
    // Check if the interrupt came from the IMU pin
    if (GPIO_Pin == IMU_int_Pin)
    {
        // Force the main loop to read sensors immediately by tricking the timer
        // We set last_sensor_read_ms far into the past so the standard interval triggers on the next loop
        last_sensor_read_ms = 0;

        // Optional: Read INT1_SRC (0x31) to clear the interrupt flag on the sensor[cite: 1]
        uint8_t reg = 0x31 | 0x80;
        uint8_t dummy_read;
        HAL_I2C_Master_Transmit(&hi2c1, LIS3DH_ADDR, &reg, 1, 100);
        HAL_I2C_Master_Receive(&hi2c1, LIS3DH_ADDR, &dummy_read, 1, 100);

        shock_event_data = dummy_read;
    }
}
/* USER CODE END 4 */

void Error_Handler(void)
{
  __disable_irq();
  while (1)
  {
  }
}
